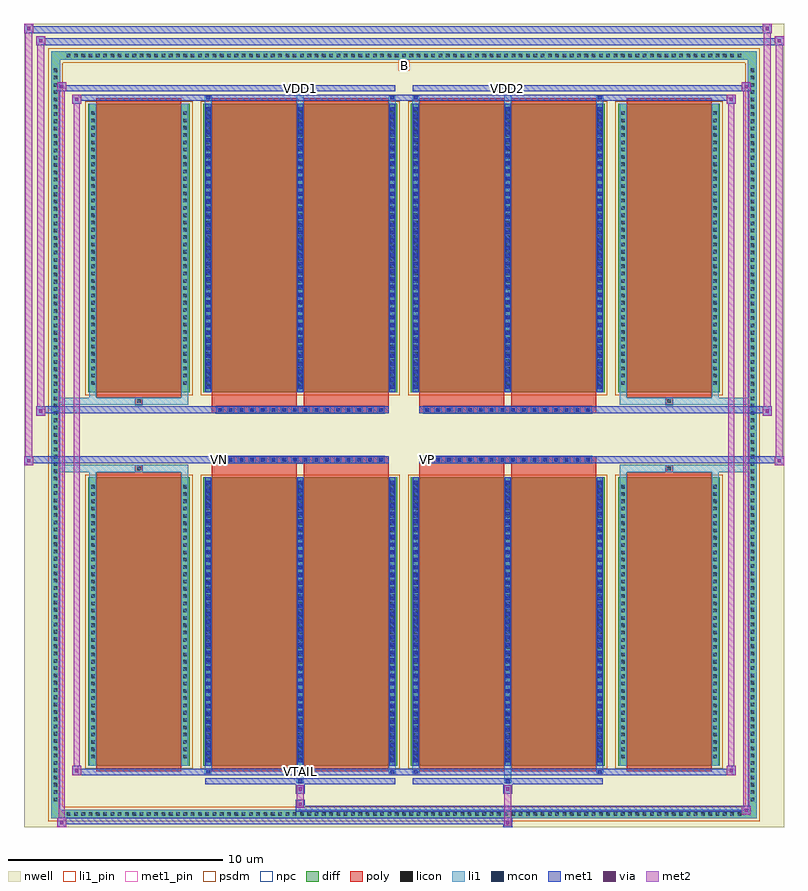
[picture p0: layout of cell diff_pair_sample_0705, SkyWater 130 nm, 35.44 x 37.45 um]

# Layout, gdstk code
import gdstk
lib = gdstk.Library(unit=1e-6, precision=5e-09)
def R(c, l, rs):  # rectangles x0, y0, x1, y1
    for r in rs: c.add(gdstk.rectangle(r[:2], r[2:], *l))
def A(c, l, x, y, w, h, nx, ny, dx, dy):  # array of equal rectangles
    R(c, l, [(x+i*dx, y+j*dy, x+i*dx+w, y+j*dy+h) for i in range(nx) for j in range(ny)])
def P(c, l, *ps):  # polygons
    for p in ps: c.add(gdstk.Polygon(p, *l))
nwell = (64, 20)
diff = (65, 20)
poly = (66, 20)
licon = (66, 44)
li1_pin = (67, 16)
li1 = (67, 20)
mcon = (67, 44)
met1_pin = (68, 16)
met1 = (68, 20)
via = (68, 44)
met2 = (69, 20)
psdm = (94, 20)
npc = (95, 20)

diff_pair_sample_0705 = lib.new_cell('diff_pair_sample_0705')
R(diff_pair_sample_0705, nwell, [(-17.72,-18.29,17.72,19.16), (-15.04,-16.48,-0.01,-0.8), (0.01,-16.48,15.04,-0.8), (-15.04,0.8,-0.01,16.48), (0.01,0.8,15.04,16.48)])
A(diff_pair_sample_0705, diff, -15.845, -17.89, 0.41, 0.41, 93, 2, 0.34, 35.37)
A(diff_pair_sample_0705, diff, -16.45, -17.205, 0.41, 0.41, 1, 101, 0, 0.34)
A(diff_pair_sample_0705, diff, 16.04, -17.205, 0.41, 0.41, 1, 101, 0, 0.34)
R(diff_pair_sample_0705, diff, [(-15.845,-17.89,15.845,-17.48), (-16.45,-17.205,-16.04,17.205), (16.04,-17.205,16.45,17.205), (-14.73,-15.435,-9.99,-1.985), (-9.35,-15.435,-0.32,-1.985), (0.32,-15.435,9.35,-1.985), (9.99,-15.435,14.73,-1.985), (-14.73,1.985,-9.99,15.435), (-9.35,1.985,-0.32,15.435), (0.32,1.985,9.35,15.435), (9.99,1.985,14.73,15.435), (-15.845,17.48,15.845,17.89)])
P(diff_pair_sample_0705, diff, [(16.45,17.89),(-16.45,17.89),(-16.45,-17.48),(-16.04,-17.48),(-16.04,17.48),(16.04,17.48),(16.04,-17.48),(-16.04,-17.48),(-16.45,-17.48),(-16.45,-17.89),(16.45,-17.89)])
A(diff_pair_sample_0705, poly, -8.75, -1.33, 0.33, 0.33, 16, 2, 0.5, 2.33)
A(diff_pair_sample_0705, poly, 0.92, -1.33, 0.33, 0.33, 16, 2, 0.5, 2.33)
R(diff_pair_sample_0705, poly, [(-14.34,-15.685,-10.38,-1.735), (-8.96,-15.685,-5,-1.735), (-4.67,-15.685,-0.71,-1.735), (0.71,-15.685,4.67,-1.735), (5,-15.685,8.96,-1.735), (10.38,-15.685,14.34,-1.735), (-12.525,-1.735,-12.195,-1.405), (-12.525,-1.735,-12.195,-1.405), (-8.96,-1.735,-5,-1.33), (-4.67,-1.735,-0.71,-1.33), (0.71,-1.735,4.67,-1.33), (5,-1.735,8.96,-1.33), (12.195,-1.735,12.525,-1.405), (12.195,-1.735,12.525,-1.405), (-8.96,-1.33,-0.71,-1), (0.71,-1.33,8.96,-1), (-8.96,1,-0.71,1.33), (0.71,1,8.96,1.33), (-8.96,1.33,-5,1.735), (-4.67,1.33,-0.71,1.735), (0.71,1.33,4.67,1.735), (5,1.33,8.96,1.735), (-12.525,1.405,-12.195,1.735), (-12.525,1.405,-12.195,1.735), (12.195,1.405,12.525,1.735), (12.195,1.405,12.525,1.735), (-14.34,1.735,-10.38,15.685), (-8.96,1.735,-5,15.685), (-4.67,1.735,-0.71,15.685), (0.71,1.735,4.67,15.685), (5,1.735,8.96,15.685), (10.38,1.735,14.34,15.685)])
A(diff_pair_sample_0705, licon, -15.725, -17.77, 0.17, 0.17, 93, 2, 0.34, 35.37)
A(diff_pair_sample_0705, licon, -16.33, -17.085, 0.17, 0.17, 1, 101, 0, 0.34)
A(diff_pair_sample_0705, licon, 16.16, -17.085, 0.17, 0.17, 1, 101, 0, 0.34)
A(diff_pair_sample_0705, licon, -14.59, -15.085, 0.17, 0.17, 1, 38, 0, 0.34)
A(diff_pair_sample_0705, licon, -10.3, -15.085, 0.17, 0.17, 1, 38, 0, 0.34)
A(diff_pair_sample_0705, licon, -9.21, -15.085, 0.17, 0.17, 3, 38, 4.29, 0.34)
A(diff_pair_sample_0705, licon, 0.46, -15.085, 0.17, 0.17, 3, 38, 4.29, 0.34)
A(diff_pair_sample_0705, licon, 10.13, -15.085, 0.17, 0.17, 1, 38, 0, 0.34)
A(diff_pair_sample_0705, licon, 14.42, -15.085, 0.17, 0.17, 1, 38, 0, 0.34)
A(diff_pair_sample_0705, licon, -8.67, -1.25, 0.17, 0.17, 16, 2, 0.5, 2.33)
A(diff_pair_sample_0705, licon, 1, -1.25, 0.17, 0.17, 16, 2, 0.5, 2.33)
A(diff_pair_sample_0705, licon, -14.59, 2.335, 0.17, 0.17, 1, 38, 0, 0.34)
A(diff_pair_sample_0705, licon, -10.3, 2.335, 0.17, 0.17, 1, 38, 0, 0.34)
A(diff_pair_sample_0705, licon, -9.21, 2.335, 0.17, 0.17, 3, 38, 4.29, 0.34)
A(diff_pair_sample_0705, licon, 0.46, 2.335, 0.17, 0.17, 3, 38, 4.29, 0.34)
A(diff_pair_sample_0705, licon, 10.13, 2.335, 0.17, 0.17, 1, 38, 0, 0.34)
A(diff_pair_sample_0705, licon, 14.42, 2.335, 0.17, 0.17, 1, 38, 0, 0.34)
R(diff_pair_sample_0705, licon, [(-12.445,-1.655,-12.275,-1.485), (12.275,-1.655,12.445,-1.485), (-12.445,1.485,-12.275,1.655), (12.275,1.485,12.445,1.655)])
R(diff_pair_sample_0705, li1_pin, [(-0.25,16.98,0.25,17.48)])
A(diff_pair_sample_0705, li1, -15.805, -17.85, 0.33, 0.33, 93, 2, 0.34, 35.37)
A(diff_pair_sample_0705, li1, -16.41, -17.165, 0.33, 0.33, 1, 101, 0, 0.34)
A(diff_pair_sample_0705, li1, 16.08, -17.165, 0.33, 0.33, 1, 101, 0, 0.34)
A(diff_pair_sample_0705, li1, -9.29, -15.435, 0.33, 13.45, 3, 2, 4.29, 17.42)
A(diff_pair_sample_0705, li1, 0.38, -15.435, 0.33, 13.45, 3, 2, 4.29, 17.42)
A(diff_pair_sample_0705, li1, -9.21, -15.275, 0.17, 0.17, 3, 37, 4.29, 0.36)
A(diff_pair_sample_0705, li1, -9.21, -15.275, 0.17, 13.13, 3, 2, 4.29, 17.42)
A(diff_pair_sample_0705, li1, 0.46, -15.275, 0.17, 0.17, 3, 37, 4.29, 0.36)
A(diff_pair_sample_0705, li1, 0.46, -15.275, 0.17, 13.13, 3, 2, 4.29, 17.42)
A(diff_pair_sample_0705, li1, -14.67, -15.165, 0.33, 0.33, 1, 38, 0, 0.34)
A(diff_pair_sample_0705, li1, -10.38, -15.165, 0.33, 0.33, 1, 38, 0, 0.34)
A(diff_pair_sample_0705, li1, -9.29, -15.165, 0.33, 0.33, 3, 38, 4.29, 0.34)
A(diff_pair_sample_0705, li1, 0.38, -15.165, 0.33, 0.33, 3, 38, 4.29, 0.34)
A(diff_pair_sample_0705, li1, 10.05, -15.165, 0.33, 0.33, 1, 38, 0, 0.34)
A(diff_pair_sample_0705, li1, 14.34, -15.165, 0.33, 0.33, 1, 38, 0, 0.34)
A(diff_pair_sample_0705, li1, -8.75, -1.33, 0.33, 0.33, 16, 2, 0.5, 2.33)
A(diff_pair_sample_0705, li1, 0.92, -1.33, 0.33, 0.33, 16, 2, 0.5, 2.33)
A(diff_pair_sample_0705, li1, -9.21, 2.145, 0.17, 0.17, 3, 37, 4.29, 0.36)
A(diff_pair_sample_0705, li1, 0.46, 2.145, 0.17, 0.17, 3, 37, 4.29, 0.36)
A(diff_pair_sample_0705, li1, -14.67, 2.255, 0.33, 0.33, 1, 38, 0, 0.34)
A(diff_pair_sample_0705, li1, -10.38, 2.255, 0.33, 0.33, 1, 38, 0, 0.34)
A(diff_pair_sample_0705, li1, -9.29, 2.255, 0.33, 0.33, 3, 38, 4.29, 0.34)
A(diff_pair_sample_0705, li1, 0.38, 2.255, 0.33, 0.33, 3, 38, 4.29, 0.34)
A(diff_pair_sample_0705, li1, 10.05, 2.255, 0.33, 0.33, 1, 38, 0, 0.34)
A(diff_pair_sample_0705, li1, 14.34, 2.255, 0.33, 0.33, 1, 38, 0, 0.34)
R(diff_pair_sample_0705, li1, [(-16.45,-17.89,-16.04,-17.48), (-16.45,-17.89,-16.04,-17.48), (-16.04,-17.89,16.04,-17.48), (16.04,-17.89,16.45,-17.48), (16.04,-17.89,16.45,-17.48), (-16.45,-17.48,-16.04,17.48), (16.04,-17.48,16.45,17.48), (-5,-16.24,-4.67,-15.435), (-4.92,-16.24,-4.75,-16.07), (4.67,-16.24,5,-15.435), (4.75,-16.24,4.92,-16.07), (-9.29,-15.81,-8.96,-15.435), (-9.21,-15.81,-9.04,-15.64), (-0.71,-15.81,-0.38,-15.435), (-0.63,-15.81,-0.46,-15.64), (0.38,-15.81,0.71,-15.435), (0.46,-15.81,0.63,-15.64), (8.96,-15.81,9.29,-15.435), (9.04,-15.81,9.21,-15.64), (-14.67,-15.435,-14.34,-1.985), (-10.38,-15.435,-10.05,-1.985), (10.05,-15.435,10.38,-1.985), (14.34,-15.435,14.67,-1.985), (-14.67,-1.985,-14.34,-1.405), (-10.38,-1.985,-10.05,-1.405), (10.05,-1.985,10.38,-1.405), (14.34,-1.985,14.67,-1.405), (-16.45,-1.735,-12.525,-1.405), (-14.67,-1.735,-12.525,-1.405), (-12.525,-1.735,-12.195,-1.405), (-12.195,-1.735,-10.05,-1.405), (10.05,-1.735,12.195,-1.405), (12.195,-1.735,12.525,-1.405), (12.195,-1.735,16.45,-1.405), (12.525,-1.735,14.67,-1.405), (-16.45,1.405,-12.525,1.735), (-14.67,1.405,-12.525,1.735), (-14.67,1.405,-14.34,1.985), (-12.525,1.405,-12.195,1.735), (-12.195,1.405,-10.05,1.735), (-10.38,1.405,-10.05,1.985), (10.05,1.405,12.195,1.735), (10.05,1.405,10.38,1.985), (12.195,1.405,12.525,1.735), (12.195,1.405,16.45,1.735), (12.525,1.405,14.67,1.735), (14.34,1.405,14.67,1.985), (-14.67,1.985,-14.34,15.435), (-10.38,1.985,-10.05,15.435), (10.05,1.985,10.38,15.435), (14.34,1.985,14.67,15.435), (-9.29,15.435,-8.96,15.81), (-5,15.435,-4.67,16.24), (-0.71,15.435,-0.38,15.81), (0.38,15.435,0.71,15.81), (4.67,15.435,5,16.24), (8.96,15.435,9.29,15.81), (-9.21,15.64,-9.04,15.81), (-0.63,15.64,-0.46,15.81), (0.46,15.64,0.63,15.81), (9.04,15.64,9.21,15.81), (-4.92,16.07,-4.75,16.24), (4.75,16.07,4.92,16.24), (-16.45,17.48,-16.04,17.89), (-16.45,17.48,-16.04,17.89), (-16.04,17.48,16.04,17.89), (16.04,17.48,16.45,17.89), (16.04,17.48,16.45,17.89)])
A(diff_pair_sample_0705, mcon, -9.21, -15.275, 0.17, 0.17, 3, 37, 4.29, 0.36)
A(diff_pair_sample_0705, mcon, 0.46, -15.275, 0.17, 0.17, 3, 37, 4.29, 0.36)
A(diff_pair_sample_0705, mcon, -8.67, -1.25, 0.17, 0.17, 16, 2, 0.5, 2.33)
A(diff_pair_sample_0705, mcon, 1, -1.25, 0.17, 0.17, 16, 2, 0.5, 2.33)
A(diff_pair_sample_0705, mcon, -9.21, 2.145, 0.17, 0.17, 3, 37, 4.29, 0.36)
A(diff_pair_sample_0705, mcon, 0.46, 2.145, 0.17, 0.17, 3, 37, 4.29, 0.36)
R(diff_pair_sample_0705, mcon, [(-4.92,-16.24,-4.75,-16.07), (4.75,-16.24,4.92,-16.07), (-9.21,-15.81,-9.04,-15.64), (-0.63,-15.81,-0.46,-15.64), (0.46,-15.81,0.63,-15.64), (9.04,-15.81,9.21,-15.64), (-9.21,15.64,-9.04,15.81), (-0.63,15.64,-0.46,15.81), (0.46,15.64,0.63,15.81), (9.04,15.64,9.21,15.81), (-4.92,16.07,-4.75,16.24), (4.75,16.07,4.92,16.24)])
R(diff_pair_sample_0705, met1_pin, [(-4.97,-15.85,-4.7,-15.58), (-8.72,-1.29,-8.45,-1.02), (0.95,-1.29,1.22,-1.02), (-4.97,16.03,-4.7,16.3), (4.7,16.03,4.97,16.3)])
A(diff_pair_sample_0705, met1, -9.27, -15.435, 0.29, 13.45, 3, 2, 4.29, 17.42)
A(diff_pair_sample_0705, met1, 0.4, -15.435, 0.29, 13.45, 3, 2, 4.29, 17.42)
A(diff_pair_sample_0705, met1, -9.27, -15.335, 0.29, 0.29, 3, 37, 4.29, 0.36)
A(diff_pair_sample_0705, met1, 0.4, -15.335, 0.29, 0.29, 3, 37, 4.29, 0.36)
A(diff_pair_sample_0705, met1, -8.73, -1.31, 0.29, 0.29, 16, 2, 0.5, 2.33)
A(diff_pair_sample_0705, met1, 0.94, -1.31, 0.29, 0.29, 16, 2, 0.5, 2.33)
A(diff_pair_sample_0705, met1, -9.27, 2.085, 0.29, 0.29, 3, 37, 4.29, 0.36)
A(diff_pair_sample_0705, met1, 0.4, 2.085, 0.29, 0.29, 3, 37, 4.29, 0.36)
R(diff_pair_sample_0705, met1, [(-16.18,-18.29,-15.75,-17.86), (4.62,-18.29,5.05,-17.86), (-16.18,-18.15,5.05,-17.86), (15.75,-17.72,16.18,-17.29), (-5.05,-17.58,16.18,-17.29), (-5.05,-17.44,-4.62,-17.01), (-5.05,-16.73,-4.62,-16.3), (4.62,-16.73,5.05,-16.3), (-9.27,-16.3,-0.4,-16.01), (-4.98,-16.3,-4.69,-16.01), (0.4,-16.3,9.27,-16.01), (4.69,-16.3,4.98,-16.01), (-15.47,-15.87,-15.04,-15.44), (-15.47,-15.87,-9.27,-15.58), (-9.27,-15.87,-8.98,-15.58), (-9.27,-15.87,-0.4,-15.58), (-0.69,-15.87,-0.4,-15.58), (-0.4,-15.87,0.4,-15.58), (0.4,-15.87,0.69,-15.58), (0.4,-15.87,9.27,-15.58), (8.98,-15.87,9.27,-15.58), (9.27,-15.87,15.47,-15.58), (15.04,-15.87,15.47,-15.44), (-17.72,-1.43,-17.29,-1), (17.29,-1.43,17.72,-1), (-17.72,-1.33,-0.71,-1), (-8.96,-1.33,-0.71,-1), (0.71,-1.33,8.96,-1), (0.71,-1.33,17.72,-1), (-17.15,0.9,-16.72,1.33), (16.72,0.9,17.15,1.33), (-17.15,1,-8.96,1.33), (-8.96,1,-0.71,1.33), (0.71,1,8.96,1.33), (8.96,1,17.15,1.33), (-15.47,15.44,-15.04,15.87), (15.04,15.44,15.47,15.87), (-15.47,15.58,-9.27,15.87), (-9.27,15.58,-8.98,15.87), (-9.27,15.58,-0.4,15.87), (-0.69,15.58,-0.4,15.87), (-0.4,15.58,0.4,15.87), (0.4,15.58,0.69,15.87), (0.4,15.58,9.27,15.87), (8.98,15.58,9.27,15.87), (9.27,15.58,15.47,15.87), (-16.18,16.01,-15.75,16.44), (-16.18,16.01,-9.27,16.3), (-9.27,16.01,-0.4,16.3), (-4.98,16.01,-4.69,16.3), (0.4,16.01,9.27,16.3), (4.69,16.01,4.98,16.3), (9.27,16.01,16.18,16.3), (15.75,16.01,16.18,16.44), (-17.15,18.16,-16.72,18.59), (-17.15,18.16,-15.04,18.49), (-15.04,18.16,15.04,18.49), (15.04,18.16,17.72,18.49), (17.29,18.16,17.72,18.59), (-17.72,18.73,-17.29,19.16), (-17.72,18.73,-15.04,19.06), (-15.04,18.73,15.04,19.06), (15.04,18.73,17.15,19.06), (16.72,18.73,17.15,19.16)])
R(diff_pair_sample_0705, via, [(-16.04,-18.15,-15.89,-18), (4.76,-18.15,4.91,-18), (15.89,-17.58,16.04,-17.43), (-4.91,-17.3,-4.76,-17.15), (-4.91,-16.59,-4.76,-16.44), (4.76,-16.59,4.91,-16.44), (-15.33,-15.73,-15.18,-15.58), (15.18,-15.73,15.33,-15.58), (-17.58,-1.29,-17.43,-1.14), (17.43,-1.29,17.58,-1.14), (-17.01,1.04,-16.86,1.19), (16.86,1.04,17.01,1.19), (-15.33,15.58,-15.18,15.73), (15.18,15.58,15.33,15.73), (-16.04,16.15,-15.89,16.3), (15.89,16.15,16.04,16.3), (-17.01,18.3,-16.86,18.45), (17.43,18.3,17.58,18.45), (-17.58,18.87,-17.43,19.02), (16.86,18.87,17.01,19.02)])
R(diff_pair_sample_0705, met2, [(-16.18,-18.29,-15.75,-17.86), (-16.11,-18.29,-15.82,16.44), (-15.82,-18.29,-15.75,-17.86), (-16.13,-18.24,-15.8,-17.91), (4.67,-18.24,5,-17.91), (4.67,-17.91,5,-16.68), (15.75,-17.72,16.18,-17.29), (15.82,-17.72,16.11,16.44), (16.11,-17.72,16.18,-17.29), (15.8,-17.67,16.13,-17.34), (-5,-17.39,-4.67,-17.06), (-5,-17.06,-4.67,-16.68), (-5,-16.68,-4.67,-16.35), (4.67,-16.68,5,-16.35), (-15.47,-15.87,-15.04,-15.44), (-15.4,-15.87,-15.11,15.87), (-15.11,-15.87,-15.04,-15.44), (15.04,-15.87,15.47,-15.44), (15.11,-15.87,15.4,15.87), (15.4,-15.87,15.47,-15.44), (-15.42,-15.82,-15.09,-15.49), (15.09,-15.82,15.42,-15.49), (-17.72,-1.43,-17.29,-1), (-17.67,-1.43,-17.34,19.16), (-17.34,-1.43,-17.29,-1), (17.29,-1.43,17.72,-1), (17.34,-1.43,17.67,18.59), (17.67,-1.43,17.72,-1), (-17.67,-1.38,-17.34,-1.05), (17.34,-1.38,17.67,-1.05), (-17.15,0.9,-16.72,1.33), (-17.1,0.9,-16.77,18.59), (-16.77,0.9,-16.72,1.33), (16.72,0.9,17.15,1.33), (16.77,0.9,17.1,19.16), (17.1,0.9,17.15,1.33), (-17.1,0.95,-16.77,1.28), (16.77,0.95,17.1,1.28), (-15.47,15.44,-15.04,15.87), (-15.11,15.44,-15.04,15.87), (15.04,15.44,15.47,15.87), (15.4,15.44,15.47,15.87), (-15.42,15.49,-15.09,15.82), (15.09,15.49,15.42,15.82), (-16.18,16.01,-15.75,16.44), (-15.82,16.01,-15.75,16.44), (15.75,16.01,16.18,16.44), (16.11,16.01,16.18,16.44), (-16.13,16.06,-15.8,16.39), (15.8,16.06,16.13,16.39), (-17.15,18.16,-16.72,18.59), (-16.77,18.16,-16.72,18.59), (17.29,18.16,17.72,18.59), (17.67,18.16,17.72,18.59), (-17.1,18.21,-16.77,18.54), (17.34,18.21,17.67,18.54), (-17.72,18.73,-17.29,19.16), (-17.34,18.73,-17.29,19.16), (16.72,18.73,17.15,19.16), (17.1,18.73,17.15,19.16), (-17.67,18.78,-17.34,19.11), (16.77,18.78,17.1,19.11)])
R(diff_pair_sample_0705, psdm, [(-14.86,-15.565,-9.86,-1.855), (-9.48,-15.565,-0.19,-1.855), (0.19,-15.565,9.48,-1.855), (9.86,-15.565,14.86,-1.855), (-14.86,1.855,-9.86,15.565), (-9.48,1.855,-0.19,15.565), (0.19,1.855,9.48,15.565), (9.86,1.855,14.86,15.565)])
P(diff_pair_sample_0705, psdm, [(16.58,18.02),(-16.58,18.02),(-16.58,-17.35),(-15.91,-17.35),(-15.91,17.35),(15.91,17.35),(15.91,-17.35),(-15.91,-17.35),(-16.58,-17.35),(-16.58,-18.02),(16.58,-18.02)])
A(diff_pair_sample_0705, npc, -8.77, -1.35, 0.37, 0.37, 16, 2, 0.5, 2.33)
A(diff_pair_sample_0705, npc, 0.9, -1.35, 0.37, 0.37, 16, 2, 0.5, 2.33)
R(diff_pair_sample_0705, npc, [(-12.545,-1.755,-12.175,-1.385), (12.175,-1.755,12.545,-1.385), (-8.77,-1.35,-7.9,-0.98), (-8.77,-1.35,-7.9,-0.98), (-8.27,-1.35,-7.4,-0.98), (-8.27,-1.35,-7.4,-0.98), (-7.77,-1.35,-6.9,-0.98), (-7.77,-1.35,-6.9,-0.98), (-7.27,-1.35,-6.4,-0.98), (-7.27,-1.35,-6.4,-0.98), (-6.77,-1.35,-5.9,-0.98), (-6.77,-1.35,-5.9,-0.98), (-6.27,-1.35,-5.4,-0.98), (-6.27,-1.35,-5.4,-0.98), (-5.77,-1.35,-4.9,-0.98), (-5.77,-1.35,-4.9,-0.98), (-5.27,-1.35,-4.4,-0.98), (-5.27,-1.35,-4.4,-0.98), (-4.77,-1.35,-3.9,-0.98), (-4.77,-1.35,-3.9,-0.98), (-4.27,-1.35,-3.4,-0.98), (-4.27,-1.35,-3.4,-0.98), (-3.77,-1.35,-2.9,-0.98), (-3.77,-1.35,-2.9,-0.98), (-3.27,-1.35,-2.4,-0.98), (-3.27,-1.35,-2.4,-0.98), (-2.77,-1.35,-1.9,-0.98), (-2.77,-1.35,-1.9,-0.98), (-2.27,-1.35,-1.4,-0.98), (-2.27,-1.35,-1.4,-0.98), (-1.77,-1.35,-0.9,-0.98), (-1.77,-1.35,-0.9,-0.98), (0.9,-1.35,1.77,-0.98), (0.9,-1.35,1.77,-0.98), (1.4,-1.35,2.27,-0.98), (1.4,-1.35,2.27,-0.98), (1.9,-1.35,2.77,-0.98), (1.9,-1.35,2.77,-0.98), (2.4,-1.35,3.27,-0.98), (2.4,-1.35,3.27,-0.98), (2.9,-1.35,3.77,-0.98), (2.9,-1.35,3.77,-0.98), (3.4,-1.35,4.27,-0.98), (3.4,-1.35,4.27,-0.98), (3.9,-1.35,4.77,-0.98), (3.9,-1.35,4.77,-0.98), (4.4,-1.35,5.27,-0.98), (4.4,-1.35,5.27,-0.98), (4.9,-1.35,5.77,-0.98), (4.9,-1.35,5.77,-0.98), (5.4,-1.35,6.27,-0.98), (5.4,-1.35,6.27,-0.98), (5.9,-1.35,6.77,-0.98), (5.9,-1.35,6.77,-0.98), (6.4,-1.35,7.27,-0.98), (6.4,-1.35,7.27,-0.98), (6.9,-1.35,7.77,-0.98), (6.9,-1.35,7.77,-0.98), (7.4,-1.35,8.27,-0.98), (7.4,-1.35,8.27,-0.98), (7.9,-1.35,8.77,-0.98), (7.9,-1.35,8.77,-0.98), (-8.77,0.98,-7.9,1.35), (-8.77,0.98,-7.9,1.35), (-8.27,0.98,-7.4,1.35), (-8.27,0.98,-7.4,1.35), (-7.77,0.98,-6.9,1.35), (-7.77,0.98,-6.9,1.35), (-7.27,0.98,-6.4,1.35), (-7.27,0.98,-6.4,1.35), (-6.77,0.98,-5.9,1.35), (-6.77,0.98,-5.9,1.35), (-6.27,0.98,-5.4,1.35), (-6.27,0.98,-5.4,1.35), (-5.77,0.98,-4.9,1.35), (-5.77,0.98,-4.9,1.35), (-5.27,0.98,-4.4,1.35), (-5.27,0.98,-4.4,1.35), (-4.77,0.98,-3.9,1.35), (-4.77,0.98,-3.9,1.35), (-4.27,0.98,-3.4,1.35), (-4.27,0.98,-3.4,1.35), (-3.77,0.98,-2.9,1.35), (-3.77,0.98,-2.9,1.35), (-3.27,0.98,-2.4,1.35), (-3.27,0.98,-2.4,1.35), (-2.77,0.98,-1.9,1.35), (-2.77,0.98,-1.9,1.35), (-2.27,0.98,-1.4,1.35), (-2.27,0.98,-1.4,1.35), (-1.77,0.98,-0.9,1.35), (-1.77,0.98,-0.9,1.35), (0.9,0.98,1.77,1.35), (0.9,0.98,1.77,1.35), (1.4,0.98,2.27,1.35), (1.4,0.98,2.27,1.35), (1.9,0.98,2.77,1.35), (1.9,0.98,2.77,1.35), (2.4,0.98,3.27,1.35), (2.4,0.98,3.27,1.35), (2.9,0.98,3.77,1.35), (2.9,0.98,3.77,1.35), (3.4,0.98,4.27,1.35), (3.4,0.98,4.27,1.35), (3.9,0.98,4.77,1.35), (3.9,0.98,4.77,1.35), (4.4,0.98,5.27,1.35), (4.4,0.98,5.27,1.35), (4.9,0.98,5.77,1.35), (4.9,0.98,5.77,1.35), (5.4,0.98,6.27,1.35), (5.4,0.98,6.27,1.35), (5.9,0.98,6.77,1.35), (5.9,0.98,6.77,1.35), (6.4,0.98,7.27,1.35), (6.4,0.98,7.27,1.35), (6.9,0.98,7.77,1.35), (6.9,0.98,7.77,1.35), (7.4,0.98,8.27,1.35), (7.4,0.98,8.27,1.35), (7.9,0.98,8.77,1.35), (7.9,0.98,8.77,1.35), (-12.545,1.385,-12.175,1.755), (12.175,1.385,12.545,1.755)])
diff_pair_sample_0705.add(gdstk.Label('VTAIL', (-4.835,-15.715), layer=68, texttype=5))
diff_pair_sample_0705.add(gdstk.Label('VN', (-8.585,-1.155), layer=68, texttype=5))
diff_pair_sample_0705.add(gdstk.Label('VP', (1.085,-1.155), layer=68, texttype=5))
diff_pair_sample_0705.add(gdstk.Label('B', (0,17.23), layer=67, texttype=5))
diff_pair_sample_0705.add(gdstk.Label('VDD2', (4.835,16.165), layer=68, texttype=5))
diff_pair_sample_0705.add(gdstk.Label('VDD1', (-4.835,16.165), layer=68, texttype=5))

lib.write_gds('diff_pair_sample_0705.gds')
